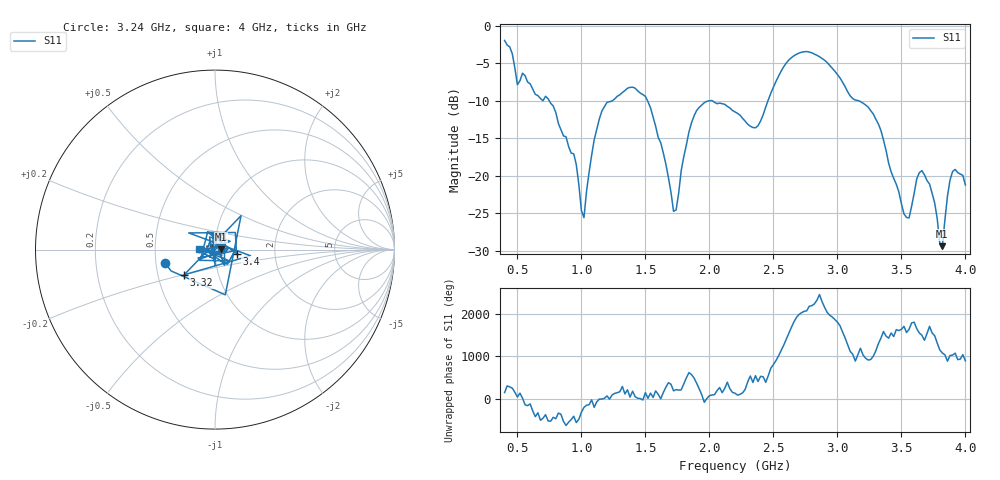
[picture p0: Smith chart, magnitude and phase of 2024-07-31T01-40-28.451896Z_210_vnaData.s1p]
!Created with skrf (http://scikit-rf.org).
# Hz S RI R 50.0
!freq ReS11 ImS11
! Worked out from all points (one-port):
!   181 points, 400 MHz to 4 GHz, reference 50 ohm
!   lowest |S11| = -29.3 dB at 3.82 GHz (marker M1), VSWR 1.07, Z = 53.5 + j0.111 ohm
!   |S11| at or under -10 dB: 748.8 MHz to 1.242 GHz (493.4 MHz wide, 49.6 % of centre); 1.517 GHz to 2.003 GHz (486.1 MHz wide, 27.6 % of centre); 3.164 GHz to end of sweep (the widest 3 of 4)
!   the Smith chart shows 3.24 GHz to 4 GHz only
!   S11 on the Smith chart (normalised r, x): 3.24 GHz: 0.56, -0.09; 3.32 GHz: 0.68, -0.20; 3.4 GHz: 1.27, -0.06; 4 GHz: 0.84, +0.01
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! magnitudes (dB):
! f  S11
! 400 MHz  -2.0
! 500 MHz  -7.9
! 540 MHz  -6.3
! 740 MHz  -9.7
! 860 MHz  -14.7
! 940 MHz  -17.1
! 1.02 GHz  -25.6
! 1.14 GHz  -12.4
! 1.3 GHz  -9.2
! 1.5 GHz  -9.4
! 1.64 GHz  -17.0
! 1.72 GHz  -24.7
! 1.76 GHz  -22.3
! 1.9 GHz  -11.3
! 2.2 GHz  -11.5
! 2.38 GHz  -13.3
! 2.66 GHz  -4.0
! 2.9 GHz  -4.6
! 3.1 GHz  -9.3
! 3.24 GHz  -10.8
! 3.32 GHz  -13.1
! 3.4 GHz  -18.3
! 3.56 GHz  -25.6
! 3.66 GHz  -19.3
! 3.74 GHz  -22.3
! 3.82 GHz  -29.3
! 3.9 GHz  -19.4
! 4 GHz  -21.2
